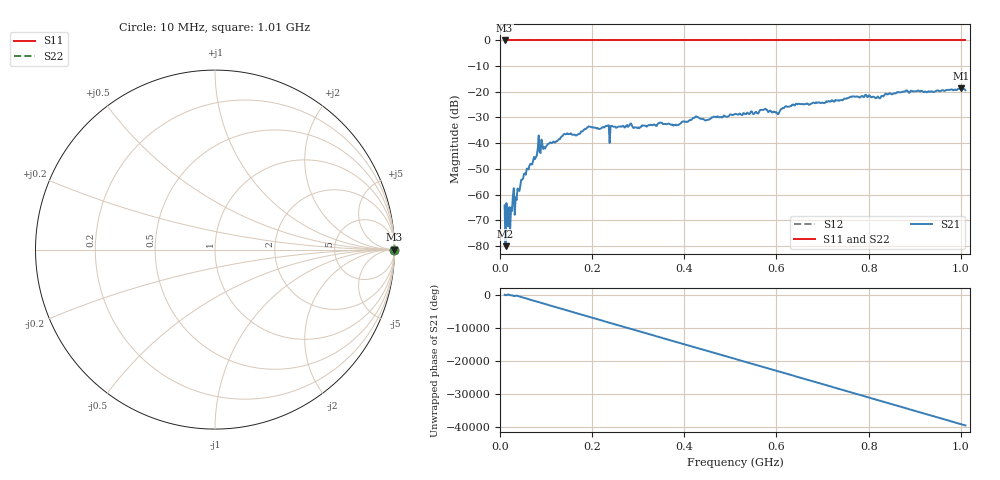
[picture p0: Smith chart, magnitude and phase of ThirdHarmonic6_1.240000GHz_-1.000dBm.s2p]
! 8/16/2025 1:10:20 PM
! C:\ANRITSUVNA\TEMP\TEMP.S2P
! CHANNEL.1
! TR.MEASUREMENT
! RAW.DATA
! RF.CORRECTION.OFF
! AVERAGING.OFF
! IF.BANDWIDTH: 5KHZ
! SWEEPTYPE:  FREQ.SWEEP(Linear)
! Reference Plane Port Info
! PORT:  PORT1  PORT2
! DISTANCE:  0  m  0  m
! TIME:  0  s  0  s
! PHASE.OFFSET:  0  deg.  0  deg.
! LOSS:  0  dB  0  dB
! REF.LOSS:  0  dB  0  dB
! REF.FREQ:  0  Hz  0  Hz
! Power Info
! POWER:  -20  dBm  -20  dBm
! EFF.POWER:  -20  dBm  -20  dBm
! SOURCE.ATTEN:  0  dB  0  dB
! TEST.ATTEN:  0  dB  0  dB
# GHZ S RI R 50.0
! FREQ.GHZ  S11RE  S11IM  S21RE  S21IM  S12RE  S12IM  S22RE  S22IM
!; PortSelection: Port_12
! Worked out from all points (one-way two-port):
!   501 points, 10 MHz to 1.01 GHz, reference 50 ohm
!   highest |S21| = -18.61 dB at 1 GHz (marker M1); lowest = -80.1 dB at 12 MHz (marker M2)
!   lowest |S11| = 0.0 dB at 10 MHz (marker M3)
!   |S11| at or under -10 dB: nowhere
!   |S22| runs from 0.0 to 0.0 dB; largest |S21 - S12| = 1.1
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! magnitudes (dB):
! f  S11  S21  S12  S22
! 10 MHz  0.0  -64.2  0.0  0.0
! 12 MHz  0.0  -80.1  0.0  0.0
! 14 MHz  0.0  -63.3  0.0  0.0
! 20 MHz  0.0  -64.9  0.0  0.0
! 28 MHz  0.0  -60.5  0.0  0.0
! 36 MHz  0.0  -62.1  0.0  0.0
! 50 MHz  0.0  -53.8  0.0  0.0
! 86 MHz  0.0  -43.4  0.0  0.0
! 178 MHz  0.0  -35.4  0.0  0.0
! 194 MHz  0.0  -33.5  0.0  0.0
! 242 MHz  0.0  -33.3  0.0  0.0
! 344 MHz  0.0  -32.3  0.0  0.0
! 384 MHz  0.0  -33.0  0.0  0.0
! 424 MHz  0.0  -29.7  0.0  0.0
! 510 MHz  0.0  -28.6  0.0  0.0
! 574 MHz  0.0  -26.9  0.0  0.0
! 602 MHz  0.0  -28.5  0.0  0.0
! 618 MHz  0.0  -25.9  0.0  0.0
! 678 MHz  0.0  -24.4  0.0  0.0
! 844 MHz  0.0  -20.7  0.0  0.0
! 1 GHz  0.0  -18.6  0.0  0.0
! 1.01 GHz  0.0  -19.4  0.0  0.0
